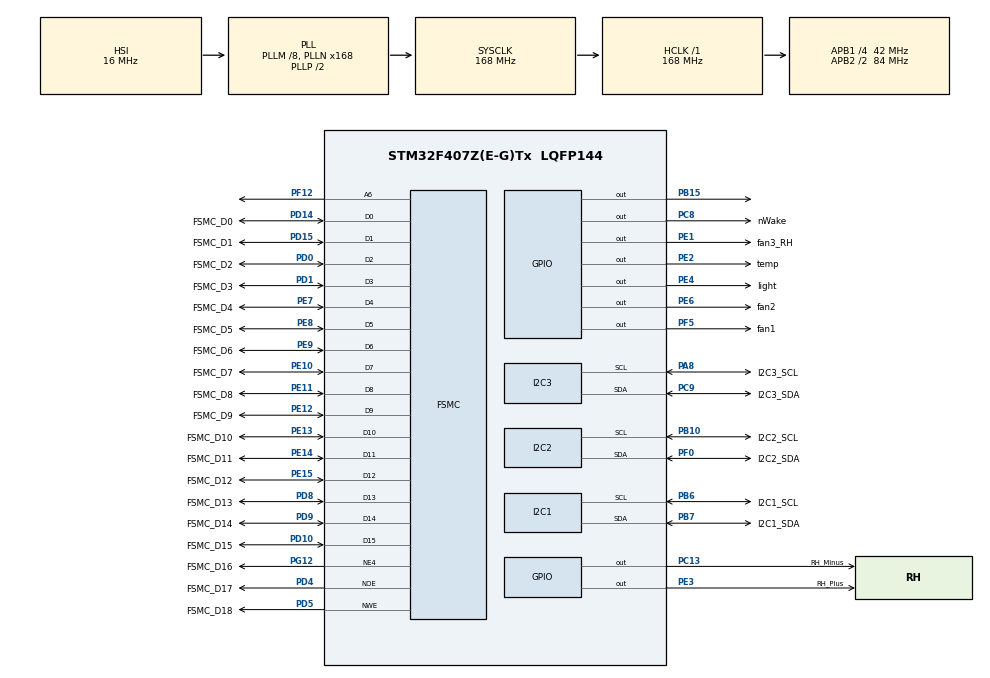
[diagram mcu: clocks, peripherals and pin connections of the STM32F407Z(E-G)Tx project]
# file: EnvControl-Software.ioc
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FSMC.AddressSetupTime1=0xf
FSMC.BusTurnAroundDuration1=0
FSMC.DataSetupTime1=24
FSMC.ExtendedAddressSetupTime1=8
FSMC.ExtendedBusTurnAroundDuration1=0
FSMC.ExtendedDataSetupTime1=8
FSMC.ExtendedMode1=FSMC_EXTENDED_MODE_ENABLE
I2C1.I2C_Mode=I2C_Standard
I2C1.OwnAddress=0x38
I2C2.DualAddressMode=I2C_DUALADDRESS_DISABLE
I2C2.OwnAddress=0x46
I2C3.OwnAddress=0x58
Mcu.Family=STM32F4
Mcu.Name=STM32F407Z(E-G)Tx
Mcu.Package=LQFP144
NVIC.PriorityGroup=NVIC_PRIORITYGROUP_4
NVIC.TIM1_UP_TIM10_IRQn=true\:0\:0\:false\:false\:true\:true\:true
NVIC.TIM2_IRQn=true\:0\:0\:false\:false\:true\:true\:true
NVIC.TIM3_IRQn=true\:0\:0\:false\:false\:true\:true\:true
PA8.GPIO_Label=I2C3_SCL
PA8.GPIO_PuPdOD=GPIO_NOPULL
PA8.GPIO_Speed=GPIO_SPEED_FREQ_HIGH
PA8.Mode=I2C
PA8.Signal=I2C3_SCL
PB10.GPIO_Label=I2C2_SCL
PB10.GPIO_PuPdOD=GPIO_NOPULL
PB10.GPIO_Speed=GPIO_SPEED_FREQ_HIGH
PB10.Mode=I2C
PB10.Signal=I2C2_SCL
PB15.Signal=GPIO_Output
PB6.GPIO_Label=I2C1_SCL
PB6.GPIO_PuPdOD=GPIO_NOPULL
PB6.GPIO_Speed=GPIO_SPEED_FREQ_HIGH
PB6.Mode=I2C
PB6.Signal=I2C1_SCL
PB7.GPIO_Label=I2C1_SDA
PB7.GPIO_PuPdOD=GPIO_NOPULL
PB7.GPIO_Speed=GPIO_SPEED_FREQ_HIGH
PB7.Mode=I2C
PB7.Signal=I2C1_SDA
PC13-ANTI_TAMP.GPIO_Label=RH_Minus
PC13-ANTI_TAMP.Signal=GPIO_Output
PC14-OSC32_IN.Mode=LSE-External-Oscillator
PC14-OSC32_IN.Signal=RCC_OSC32_IN
PC15-OSC32_OUT.Mode=LSE-External-Oscillator
PC15-OSC32_OUT.Signal=RCC_OSC32_OUT
PC8.GPIO_Label=nWake
PC8.GPIO_PuPd=GPIO_PULLUP
PC8.PinState=GPIO_PIN_SET
PC8.Signal=GPIO_Output
PC9.GPIO_Label=I2C3_SDA
PC9.GPIO_PuPdOD=GPIO_NOPULL
PC9.GPIO_Speed=GPIO_SPEED_FREQ_HIGH
PC9.Mode=I2C
PC9.Signal=I2C3_SDA
PD0.GPIO_Label=FSMC_D2
PD0.Signal=FSMC_D2_DA2
PD1.GPIO_Label=FSMC_D3
PD1.Signal=FSMC_D3_DA3
PD10.GPIO_Label=FSMC_D15
PD10.Signal=FSMC_D15_DA15
PD14.GPIO_Label=FSMC_D0
PD14.Signal=FSMC_D0_DA0
PD15.GPIO_Label=FSMC_D1
PD15.Signal=FSMC_D1_DA1
PD4.GPIO_Label=FSMC_D17
PD4.Signal=FSMC_NOE
PD5.GPIO_Label=FSMC_D18
PD5.Signal=FSMC_NWE
PD8.GPIO_Label=FSMC_D13
PD8.Signal=FSMC_D13_DA13
PD9.GPIO_Label=FSMC_D14
PD9.Signal=FSMC_D14_DA14
PE1.GPIO_Label=fan3_RH
PE1.Signal=GPIO_Output
PE10.GPIO_Label=FSMC_D7
PE10.Signal=FSMC_D7_DA7
PE11.GPIO_Label=FSMC_D8
PE11.Signal=FSMC_D8_DA8
PE12.GPIO_Label=FSMC_D9
PE12.Signal=FSMC_D9_DA9
PE13.GPIO_Label=FSMC_D10
PE13.Signal=FSMC_D10_DA10
PE14.GPIO_Label=FSMC_D11
PE14.Signal=FSMC_D11_DA11
PE15.GPIO_Label=FSMC_D12
PE15.Signal=FSMC_D12_DA12
PE2.GPIO_Label=temp
PE2.Signal=GPIO_Output
PE3.GPIO_Label=RH_Plus
PE3.Signal=GPIO_Output
PE4.GPIO_Label=light
PE4.Signal=GPIO_Output
PE6.GPIO_Label=fan2
PE6.Signal=GPIO_Output
PE7.GPIO_Label=FSMC_D4
PE7.Signal=FSMC_D4_DA4
PE8.GPIO_Label=FSMC_D5
PE8.Signal=FSMC_D5_DA5
PE9.GPIO_Label=FSMC_D6
PE9.Signal=FSMC_D6_DA6
PF0.GPIO_Label=I2C2_SDA
PF0.GPIO_PuPdOD=GPIO_NOPULL
PF0.GPIO_Speed=GPIO_SPEED_FREQ_HIGH
PF0.Mode=I2C
PF0.Signal=I2C2_SDA
PF12.Signal=FSMC_A6
PF5.GPIO_Label=fan1
PF5.Signal=GPIO_Output
PG12.GPIO_Label=FSMC_D16
PG12.Mode=NorPsramChipSelect4_1
PG12.Signal=FSMC_NE4
PH0-OSC_IN.Mode=HSE-External-Oscillator
PH0-OSC_IN.Signal=RCC_OSC_IN
PH1-OSC_OUT.Mode=HSE-External-Oscillator
PH1-OSC_OUT.Signal=RCC_OSC_OUT
ProjectManager.HeapSize=0x200
ProjectManager.StackSize=0x400
ProjectManager.TargetToolchain=STM32CubeIDE
RCC.48MHZClocksFreq_Value=84000000
RCC.AHBFreq_Value=168000000
RCC.APB1CLKDivider=RCC_HCLK_DIV4
RCC.APB1Freq_Value=42000000
RCC.APB1TimFreq_Value=84000000
RCC.APB2CLKDivider=RCC_HCLK_DIV2
RCC.APB2Freq_Value=84000000
RCC.APB2TimFreq_Value=168000000
RCC.CortexFreq_Value=168000000
RCC.HCLKFreq_Value=168000000
RCC.HSE_VALUE=25000000
RCC.HSI_VALUE=16000000
RCC.PLLM=8
RCC.PLLN=168
RCC.SYSCLKFreq_VALUE=168000000
RCC.SYSCLKSource=RCC_SYSCLKSOURCE_PLLCLK
RCC.VCOOutputFreq_Value=336000000
SH.FSMC_A6.0=FSMC_A6,A6_1
SH.FSMC_D0_DA0.0=FSMC_D0,16b-d1
SH.FSMC_D10_DA10.0=FSMC_D10,16b-d1
SH.FSMC_D11_DA11.0=FSMC_D11,16b-d1
SH.FSMC_D12_DA12.0=FSMC_D12,16b-d1
SH.FSMC_D13_DA13.0=FSMC_D13,16b-d1
SH.FSMC_D14_DA14.0=FSMC_D14,16b-d1
SH.FSMC_D15_DA15.0=FSMC_D15,16b-d1
SH.FSMC_D1_DA1.0=FSMC_D1,16b-d1
SH.FSMC_D2_DA2.0=FSMC_D2,16b-d1
SH.FSMC_D3_DA3.0=FSMC_D3,16b-d1
SH.FSMC_D4_DA4.0=FSMC_D4,16b-d1
SH.FSMC_D5_DA5.0=FSMC_D5,16b-d1
SH.FSMC_D6_DA6.0=FSMC_D6,16b-d1
SH.FSMC_D7_DA7.0=FSMC_D7,16b-d1
SH.FSMC_D8_DA8.0=FSMC_D8,16b-d1
SH.FSMC_D9_DA9.0=FSMC_D9,16b-d1
SH.FSMC_NOE.0=FSMC_NOE,Lcd1
SH.FSMC_NWE.0=FSMC_NWE,Lcd1
TIM1.Period=5040
TIM1.Prescaler=50000
TIM2.Period=6000
TIM2.Prescaler=2000
TIM3.AutoReloadPreload=TIM_AUTORELOAD_PRELOAD_ENABLE
TIM3.ClockDivision=TIM_CLOCKDIVISION_DIV1
TIM3.Period=21000
TIM3.Prescaler=21000
VP_TIM1_VS_ClockSourceINT.Mode=Internal
VP_TIM2_VS_ClockSourceINT.Mode=Internal
VP_TIM3_VS_ClockSourceINT.Mode=Internal
board=custom

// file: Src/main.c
/* USER CODE BEGIN Header */
/**
  ******************************************************************************
  * @file           : main.c
  * @brief          : Main program body
  ******************************************************************************
  * @attention
  *
  * <h2><center>&copy; Copyright (c) 2019 STMicroelectronics.
  * All rights reserved.</center></h2>
  *
  * This software component is licensed by ST under BSD 3-Clause license,
  * the "License"; You may not use this file except in compliance with the
  * License. You may obtain a copy of the License at:
  *                        opensource.org/licenses/BSD-3-Clause
  *
  ******************************************************************************
  */
/* USER CODE END Header */

#include "main.h"

/* USER CODE BEGIN PD */
uint8_t j=0x00;
float temperture;
float RH;
float light;
uint8_t AHT10_CalibrateCmd[3]={0xA8, 0x08, 0x00};
uint8_t AHT10_MeasureCmd[3]={0xAC, 0x33, 0x00};
uint8_t GY30_POWERON=0x01;
uint8_t GY30_CHRM=0x10;
/* USER CODE END PD */

I2C_HandleTypeDef hi2c1;
I2C_HandleTypeDef hi2c2;
I2C_HandleTypeDef hi2c3;

TIM_HandleTypeDef htim1;
TIM_HandleTypeDef htim2;
TIM_HandleTypeDef htim3;

SRAM_HandleTypeDef hsram1;

void SystemClock_Config(void);
static void MX_GPIO_Init(void);
static void MX_FSMC_Init(void);
static void MX_I2C1_Init(void);
static void MX_I2C2_Init(void);
static void MX_I2C3_Init(void);
static void MX_TIM1_Init(void);
static void MX_TIM2_Init(void);
static void MX_TIM3_Init(void);

int main(void)
{

  /* MCU Configuration--------------------------------------------------------*/

  /* Reset of all peripherals, Initializes the Flash interface and the Systick. */
  HAL_Init();

  /* USER CODE BEGIN Init */
  uint8_t x1;
  uint8_t x2;
  uint16_t x3;
  /* USER CODE END Init */

  /* Configure the system clock */
  SystemClock_Config();

  /* Initialize all configured peripherals */
  MX_GPIO_Init();
  MX_FSMC_Init();
  MX_I2C1_Init();
  MX_I2C2_Init();
  MX_I2C3_Init();
  MX_TIM1_Init();
  MX_TIM2_Init();
  MX_TIM3_Init();
  /* USER CODE BEGIN 2 */
  LCD_Init();
  LCD_DisplayOn();
  LCD_Display_Dir(0);
  POINT_COLOR=BLUE;
  HAL_TIM_Base_Start_IT(&htim1);
  HAL_TIM_Base_Start_IT(&htim2);
  HAL_TIM_Base_Start_IT(&htim3);
  /* USER CODE END 2 */

  /* Infinite loop */
  while (1)
  {

    /* USER CODE BEGIN 3 */
    if(co2>450)
    	HAL_GPIO_WritePin(fan1_GPIO_Port, fan1_Pin, GPIO_PIN_RESET);
	else
		HAL_GPIO_WritePin(fan1_GPIO_Port, fan1_Pin, GPIO_PIN_SET);
	if(temperture<18)
	{
		HAL_GPIO_WritePin(GPIOE, temp_Pin, GPIO_PIN_RESET);
		HAL_Delay(1000);
		HAL_GPIO_WritePin(GPIOE, fan2_Pin, GPIO_PIN_RESET);
	}
	else if(temperture>32)
	{
		HAL_GPIO_WritePin(GPIOE, temp_Pin, GPIO_PIN_SET);
		HAL_GPIO_WritePin(GPIOE, fan2_Pin, GPIO_PIN_RESET);
	}
	else
	{
		HAL_GPIO_WritePin(GPIOE, temp_Pin, GPIO_PIN_SET);
		HAL_GPIO_WritePin(GPIOE, fan2_Pin, GPIO_PIN_SET);
	}
	if(light<200)
	{
		HAL_GPIO_WritePin(GPIOE, light_Pin, GPIO_PIN_RESET);
	}
	else
	{
		HAL_GPIO_WritePin(GPIOE, light_Pin, GPIO_PIN_SET);
	}
	if(RH<55)
	{
		HAL_GPIO_WritePin(GPIOE, RH_Plus_Pin, GPIO_PIN_RESET);
	}
	else if(RH>75)
	{
		HAL_GPIO_WritePin(RH_Minus_GPIO_Port, RH_Minus_Pin, GPIO_PIN_RESET);
		HAL_Delay(1000);
		HAL_GPIO_WritePin(GPIOE, fan1_Pin, GPIO_PIN_RESET);
		HAL_GPIO_WritePin(GPIOE, RH_Plus_Pin, GPIO_PIN_SET);
	}
	else
	{
		HAL_GPIO_WritePin(RH_Minus_GPIO_Port, RH_Minus_Pin, GPIO_PIN_SET);
		HAL_GPIO_WritePin(GPIOE, fan1_Pin, GPIO_PIN_SET);
		HAL_GPIO_WritePin(GPIOE, RH_Plus_Pin, GPIO_PIN_SET);
	}
	x1=(uint8_t)temperture;
	x2=(uint8_t)RH;
	x3=(uint16_t)light;
	sprintf(tp,"%d",x1);
	sprintf(hum,"%d",x2);
	sprintf(lg,"%4d",x3);
	LCD_DisplayString(30,0,200,200,24,"Temp:");
	LCD_DisplayString(100,0,200,200,24,(uint8_t *)tp);
	LCD_DisplayString(30,50,200,200,24,"RH:");
	LCD_DisplayString(100,50,200,200,24,(uint8_t *)hum);
	LCD_DisplayString(160,50,24,24,24,"%");
	LCD_DisplayString(30,100,96,96,24,"Light:");
	LCD_DisplayString(100,100,96,96,24,(uint8_t *)lg);
	LCD_DisplayString(160,100,24,24,24,"lx");
  }
  /* USER CODE END 3 */
}

void SystemClock_Config(void)
{
  RCC_OscInitTypeDef RCC_OscInitStruct = {0};
  RCC_ClkInitTypeDef RCC_ClkInitStruct = {0};

  /** Configure the main internal regulator output voltage
  */
  __HAL_RCC_PWR_CLK_ENABLE();
  __HAL_PWR_VOLTAGESCALING_CONFIG(PWR_REGULATOR_VOLTAGE_SCALE1);
  /** Initializes the CPU, AHB and APB busses clocks
  */
  RCC_OscInitStruct.OscillatorType = RCC_OSCILLATORTYPE_HSI;
  RCC_OscInitStruct.HSIState = RCC_HSI_ON;
  RCC_OscInitStruct.HSICalibrationValue = RCC_HSICALIBRATION_DEFAULT;
  RCC_OscInitStruct.PLL.PLLState = RCC_PLL_ON;
  RCC_OscInitStruct.PLL.PLLSource = RCC_PLLSOURCE_HSI;
  RCC_OscInitStruct.PLL.PLLM = 8;
  RCC_OscInitStruct.PLL.PLLN = 168;
  RCC_OscInitStruct.PLL.PLLP = RCC_PLLP_DIV2;
  RCC_OscInitStruct.PLL.PLLQ = 4;
  if (HAL_RCC_OscConfig(&RCC_OscInitStruct) != HAL_OK)
  {
    Error_Handler();
  }
  /** Initializes the CPU, AHB and APB busses clocks
  */
  RCC_ClkInitStruct.ClockType = RCC_CLOCKTYPE_HCLK|RCC_CLOCKTYPE_SYSCLK
                              |RCC_CLOCKTYPE_PCLK1|RCC_CLOCKTYPE_PCLK2;
  RCC_ClkInitStruct.SYSCLKSource = RCC_SYSCLKSOURCE_PLLCLK;
  RCC_ClkInitStruct.AHBCLKDivider = RCC_SYSCLK_DIV1;
  RCC_ClkInitStruct.APB1CLKDivider = RCC_HCLK_DIV4;
  RCC_ClkInitStruct.APB2CLKDivider = RCC_HCLK_DIV2;

  if (HAL_RCC_ClockConfig(&RCC_ClkInitStruct, FLASH_LATENCY_5) != HAL_OK)
  {
    Error_Handler();
  }
}

static void MX_I2C1_Init(void)
{

  /* USER CODE BEGIN I2C1_Init 0 */
	uint8_t temp[2]={0,0};
  /* USER CODE END I2C1_Init 0 */

  hi2c1.Instance = I2C1;
  hi2c1.Init.ClockSpeed = 100000;
  hi2c1.Init.DutyCycle = I2C_DUTYCYCLE_2;
  hi2c1.Init.OwnAddress1 = 112;
  hi2c1.Init.AddressingMode = I2C_ADDRESSINGMODE_7BIT;
  hi2c1.Init.DualAddressMode = I2C_DUALADDRESS_DISABLE;
  hi2c1.Init.OwnAddress2 = 0;
  hi2c1.Init.GeneralCallMode = I2C_GENERALCALL_DISABLE;
  hi2c1.Init.NoStretchMode = I2C_NOSTRETCH_DISABLE;
  if (HAL_I2C_Init(&hi2c1) != HAL_OK)
  {
    Error_Handler();
  }
  /* USER CODE BEGIN I2C1_Init 2 */
//  HAL_GPIO_WritePin(GPIOB,I2C1_SDA_Pin,GPIO_PIN_RESET);
  while(HAL_I2C_Mem_Write(&hi2c1,AHT10_Address,0xA8,2,&temp,sizeof(temp),1000)!=HAL_OK);
  temp[0]=0x08;
  temp[1]=0x00;
  while(HAL_I2C_Mem_Write(&hi2c1,AHT10_Address,0xE1,2,&temp,sizeof(temp),1000)!=HAL_OK);
  delay(200);
  /* USER CODE END I2C1_Init 2 */

}

static void MX_I2C2_Init(void)
{

  hi2c2.Instance = I2C2;
  hi2c2.Init.ClockSpeed = 100000;
  hi2c2.Init.DutyCycle = I2C_DUTYCYCLE_2;
  hi2c2.Init.OwnAddress1 = 140;
  hi2c2.Init.AddressingMode = I2C_ADDRESSINGMODE_7BIT;
  hi2c2.Init.DualAddressMode = I2C_DUALADDRESS_DISABLE;
  hi2c2.Init.OwnAddress2 = 0;
  hi2c2.Init.GeneralCallMode = I2C_GENERALCALL_DISABLE;
  hi2c2.Init.NoStretchMode = I2C_NOSTRETCH_DISABLE;
  if (HAL_I2C_Init(&hi2c2) != HAL_OK)
  {
    Error_Handler();
  }
  /* USER CODE BEGIN I2C2_Init 2 */
  while(HAL_I2C_Master_Transmit(&hi2c2, GY30_Address,&GY30_POWERON,1,1000)!=HAL_OK);
  /* USER CODE END I2C2_Init 2 */

}

static void MX_I2C3_Init(void)
{

  /* USER CODE BEGIN I2C3_Init 0 */
	uint8_t mode=0x10;
  /* USER CODE END I2C3_Init 0 */

  hi2c3.Instance = I2C3;
  hi2c3.Init.ClockSpeed = 100000;
  hi2c3.Init.DutyCycle = I2C_DUTYCYCLE_2;
  hi2c3.Init.OwnAddress1 = 176;
  hi2c3.Init.AddressingMode = I2C_ADDRESSINGMODE_7BIT;
  hi2c3.Init.DualAddressMode = I2C_DUALADDRESS_DISABLE;
  hi2c3.Init.OwnAddress2 = 0;
  hi2c3.Init.GeneralCallMode = I2C_GENERALCALL_DISABLE;
  hi2c3.Init.NoStretchMode = I2C_NOSTRETCH_DISABLE;
  if (HAL_I2C_Init(&hi2c3) != HAL_OK)
  {
    Error_Handler();
  }
  /* USER CODE BEGIN I2C3_Init 2 */
  HAL_GPIO_WritePin(GPIOC,nWake_Pin,GPIO_PIN_RESET);
  delay(1000);
  while(HAL_I2C_Mem_Write(&hi2c3,CCS811_Address,0x00,0,CCS811_Data,0,1000)!=HAL_OK);
  while(HAL_I2C_Master_Receive(&hi2c3,CCS811_Address,&CCS811_Data,1,1000)!=HAL_OK);
  if(!(CCS811_Data[0] & 0x10))
	  return HAL_ERROR;
  while(HAL_I2C_Mem_Write(&hi2c3,CCS811_Address,0xF4,1,CCS811_Data,0,1000)!=HAL_OK);
  while(HAL_I2C_Mem_Write(&hi2c3,CCS811_Address,0x00,0,CCS811_Data,0,1000)!=HAL_OK);
  while(HAL_I2C_Master_Receive(&hi2c3,CCS811_Address,&CCS811_Data,1,1000)!=HAL_OK);
  if(!(CCS811_Data[0] & 0x80))
	  return HAL_ERROR;
  while(HAL_I2C_Mem_Write(&hi2c3,CCS811_Address,MEAS_Mode_Reg,1,&mode,1,1000)!=HAL_OK);
  while(HAL_I2C_Mem_Read(&hi2c3,CCS811_Address,MEAS_Mode_Reg,1,&mode,1,1000)!=HAL_OK);
  /* USER CODE END I2C3_Init 2 */

}

static void MX_TIM1_Init(void)
{

  TIM_ClockConfigTypeDef sClockSourceConfig = {0};
  TIM_MasterConfigTypeDef sMasterConfig = {0};

  htim1.Instance = TIM1;
  htim1.Init.Prescaler = 50000;
  htim1.Init.CounterMode = TIM_COUNTERMODE_UP;
  htim1.Init.Period = 5040;
  htim1.Init.ClockDivision = TIM_CLOCKDIVISION_DIV1;
  htim1.Init.RepetitionCounter = 0;
  htim1.Init.AutoReloadPreload = TIM_AUTORELOAD_PRELOAD_DISABLE;
  if (HAL_TIM_Base_Init(&htim1) != HAL_OK)
  {
    Error_Handler();
  }
  sClockSourceConfig.ClockSource = TIM_CLOCKSOURCE_INTERNAL;
  if (HAL_TIM_ConfigClockSource(&htim1, &sClockSourceConfig) != HAL_OK)
  {
    Error_Handler();
  }
  sMasterConfig.MasterOutputTrigger = TIM_TRGO_RESET;
  sMasterConfig.MasterSlaveMode = TIM_MASTERSLAVEMODE_DISABLE;
  if (HAL_TIMEx_MasterConfigSynchronization(&htim1, &sMasterConfig) != HAL_OK)
  {
    Error_Handler();
  }

}

static void MX_TIM2_Init(void)
{

  TIM_ClockConfigTypeDef sClockSourceConfig = {0};
  TIM_MasterConfigTypeDef sMasterConfig = {0};

  htim2.Instance = TIM2;
  htim2.Init.Prescaler = 2000;
  htim2.Init.CounterMode = TIM_COUNTERMODE_UP;
  htim2.Init.Period = 6000;
  htim2.Init.ClockDivision = TIM_CLOCKDIVISION_DIV1;
  htim2.Init.AutoReloadPreload = TIM_AUTORELOAD_PRELOAD_DISABLE;
  if (HAL_TIM_Base_Init(&htim2) != HAL_OK)
  {
    Error_Handler();
  }
  sClockSourceConfig.ClockSource = TIM_CLOCKSOURCE_INTERNAL;
  if (HAL_TIM_ConfigClockSource(&htim2, &sClockSourceConfig) != HAL_OK)
  {
    Error_Handler();
  }
  sMasterConfig.MasterOutputTrigger = TIM_TRGO_RESET;
  sMasterConfig.MasterSlaveMode = TIM_MASTERSLAVEMODE_DISABLE;
  if (HAL_TIMEx_MasterConfigSynchronization(&htim2, &sMasterConfig) != HAL_OK)
  {
    Error_Handler();
  }

}

static void MX_TIM3_Init(void)
{

  TIM_ClockConfigTypeDef sClockSourceConfig = {0};
  TIM_MasterConfigTypeDef sMasterConfig = {0};

  htim3.Instance = TIM3;
  htim3.Init.Prescaler = 21000;
  htim3.Init.CounterMode = TIM_COUNTERMODE_UP;
  htim3.Init.Period = 21000;
  htim3.Init.ClockDivision = TIM_CLOCKDIVISION_DIV1;
  htim3.Init.AutoReloadPreload = TIM_AUTORELOAD_PRELOAD_ENABLE;
  if (HAL_TIM_Base_Init(&htim3) != HAL_OK)
  {
    Error_Handler();
  }
  sClockSourceConfig.ClockSource = TIM_CLOCKSOURCE_INTERNAL;
  if (HAL_TIM_ConfigClockSource(&htim3, &sClockSourceConfig) != HAL_OK)
  {
    Error_Handler();
  }
  sMasterConfig.MasterOutputTrigger = TIM_TRGO_RESET;
  sMasterConfig.MasterSlaveMode = TIM_MASTERSLAVEMODE_DISABLE;
  if (HAL_TIMEx_MasterConfigSynchronization(&htim3, &sMasterConfig) != HAL_OK)
  {
    Error_Handler();
  }

}

static void MX_GPIO_Init(void)
{
  GPIO_InitTypeDef GPIO_InitStruct = {0};

  /* GPIO Ports Clock Enable */
  __HAL_RCC_GPIOE_CLK_ENABLE();
  __HAL_RCC_GPIOC_CLK_ENABLE();
  __HAL_RCC_GPIOF_CLK_ENABLE();
  __HAL_RCC_GPIOH_CLK_ENABLE();
  __HAL_RCC_GPIOB_CLK_ENABLE();
  __HAL_RCC_GPIOD_CLK_ENABLE();
  __HAL_RCC_GPIOA_CLK_ENABLE();
  __HAL_RCC_GPIOG_CLK_ENABLE();

  /*Configure GPIO pin Output Level */
  HAL_GPIO_WritePin(GPIOE, temp_Pin|RH_Plus_Pin|light_Pin|fan2_Pin
                          |fan3_RH_Pin, GPIO_PIN_RESET);

  /*Configure GPIO pin Output Level */
  HAL_GPIO_WritePin(RH_Minus_GPIO_Port, RH_Minus_Pin, GPIO_PIN_RESET);

  /*Configure GPIO pin Output Level */
  HAL_GPIO_WritePin(fan1_GPIO_Port, fan1_Pin, GPIO_PIN_RESET);

  /*Configure GPIO pin Output Level */
  HAL_GPIO_WritePin(GPIOB, GPIO_PIN_15, GPIO_PIN_RESET);

  /*Configure GPIO pin Output Level */
  HAL_GPIO_WritePin(nWake_GPIO_Port, nWake_Pin, GPIO_PIN_SET);

  /*Configure GPIO pins : temp_Pin RH_Plus_Pin light_Pin fan2_Pin
                           fan3_RH_Pin */
  GPIO_InitStruct.Pin = temp_Pin|RH_Plus_Pin|light_Pin|fan2_Pin
                          |fan3_RH_Pin;
  GPIO_InitStruct.Mode = GPIO_MODE_OUTPUT_PP;
  GPIO_InitStruct.Pull = GPIO_NOPULL;
  GPIO_InitStruct.Speed = GPIO_SPEED_FREQ_LOW;
  HAL_GPIO_Init(GPIOE, &GPIO_InitStruct);

  /*Configure GPIO pin : RH_Minus_Pin */
  GPIO_InitStruct.Pin = RH_Minus_Pin;
  GPIO_InitStruct.Mode = GPIO_MODE_OUTPUT_PP;
  GPIO_InitStruct.Pull = GPIO_NOPULL;
  GPIO_InitStruct.Speed = GPIO_SPEED_FREQ_LOW;
  HAL_GPIO_Init(RH_Minus_GPIO_Port, &GPIO_InitStruct);

  /*Configure GPIO pin : fan1_Pin */
  GPIO_InitStruct.Pin = fan1_Pin;
  GPIO_InitStruct.Mode = GPIO_MODE_OUTPUT_PP;
  GPIO_InitStruct.Pull = GPIO_NOPULL;
  GPIO_InitStruct.Speed = GPIO_SPEED_FREQ_LOW;
  HAL_GPIO_Init(fan1_GPIO_Port, &GPIO_InitStruct);

  /*Configure GPIO pin : PB15 */
  GPIO_InitStruct.Pin = GPIO_PIN_15;
  GPIO_InitStruct.Mode = GPIO_MODE_OUTPUT_PP;
  GPIO_InitStruct.Pull = GPIO_NOPULL;
  GPIO_InitStruct.Speed = GPIO_SPEED_FREQ_LOW;
  HAL_GPIO_Init(GPIOB, &GPIO_InitStruct);

  /*Configure GPIO pin : nWake_Pin */
  GPIO_InitStruct.Pin = nWake_Pin;
  GPIO_InitStruct.Mode = GPIO_MODE_OUTPUT_PP;
  GPIO_InitStruct.Pull = GPIO_PULLUP;
  GPIO_InitStruct.Speed = GPIO_SPEED_FREQ_LOW;
  HAL_GPIO_Init(nWake_GPIO_Port, &GPIO_InitStruct);

}

/* FSMC initialization function */
static void MX_FSMC_Init(void)
{

  FSMC_NORSRAM_TimingTypeDef Timing = {0};
  FSMC_NORSRAM_TimingTypeDef ExtTiming = {0};

  /** Perform the SRAM1 memory initialization sequence
  */
  hsram1.Instance = FSMC_NORSRAM_DEVICE;
  hsram1.Extended = FSMC_NORSRAM_EXTENDED_DEVICE;
  /* hsram1.Init */
  hsram1.Init.NSBank = FSMC_NORSRAM_BANK4;
  hsram1.Init.DataAddressMux = FSMC_DATA_ADDRESS_MUX_DISABLE;
  hsram1.Init.MemoryType = FSMC_MEMORY_TYPE_SRAM;
  hsram1.Init.MemoryDataWidth = FSMC_NORSRAM_MEM_BUS_WIDTH_16;
  hsram1.Init.BurstAccessMode = FSMC_BURST_ACCESS_MODE_DISABLE;
  hsram1.Init.WaitSignalPolarity = FSMC_WAIT_SIGNAL_POLARITY_LOW;
  hsram1.Init.WrapMode = FSMC_WRAP_MODE_DISABLE;
  hsram1.Init.WaitSignalActive = FSMC_WAIT_TIMING_BEFORE_WS;
  hsram1.Init.WriteOperation = FSMC_WRITE_OPERATION_ENABLE;
  hsram1.Init.WaitSignal = FSMC_WAIT_SIGNAL_DISABLE;
  hsram1.Init.ExtendedMode = FSMC_EXTENDED_MODE_ENABLE;
  hsram1.Init.AsynchronousWait = FSMC_ASYNCHRONOUS_WAIT_DISABLE;
  hsram1.Init.WriteBurst = FSMC_WRITE_BURST_DISABLE;
  hsram1.Init.PageSize = FSMC_PAGE_SIZE_NONE;
  /* Timing */
  Timing.AddressSetupTime = 0xf;
  Timing.AddressHoldTime = 15;
  Timing.DataSetupTime = 24;
  Timing.BusTurnAroundDuration = 0;
  Timing.CLKDivision = 16;
  Timing.DataLatency = 17;
  Timing.AccessMode = FSMC_ACCESS_MODE_A;
  /* ExtTiming */
  ExtTiming.AddressSetupTime = 8;
  ExtTiming.AddressHoldTime = 15;
  ExtTiming.DataSetupTime = 8;
  ExtTiming.BusTurnAroundDuration = 0;
  ExtTiming.CLKDivision = 16;
  ExtTiming.DataLatency = 17;
  ExtTiming.AccessMode = FSMC_ACCESS_MODE_A;

  if (HAL_SRAM_Init(&hsram1, &Timing, &ExtTiming) != HAL_OK)
  {
    Error_Handler( );
  }

}

/* USER CODE BEGIN 4 */
void delay(uint32_t k)
{
	uint8_t j;
	while(k--)
	{
		for(j=0;j<100;j++);
	}
}
/* USER CODE END 4 */

void Error_Handler(void)
{
}

/************************ (C) COPYRIGHT STMicroelectronics *****END OF FILE****/
